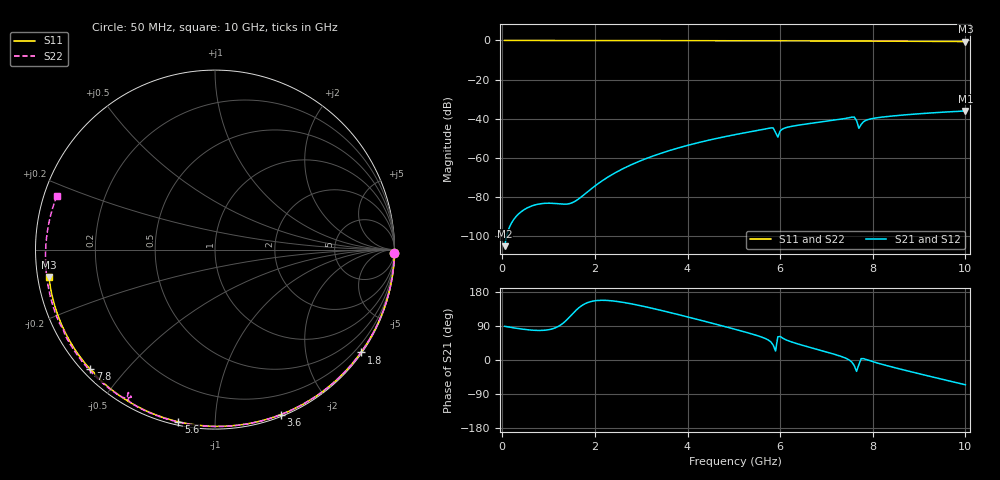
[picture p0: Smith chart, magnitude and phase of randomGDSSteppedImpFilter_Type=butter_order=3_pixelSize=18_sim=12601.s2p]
! freq	dB(S11)	phase(S11)	dB(S12)	phase(S12)
!  dB(S21)	phase(S21)	dB(S22)	phase(S22)
!S-par simulation data
#  GHz  S  DB  R 50
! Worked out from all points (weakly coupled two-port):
!   200 points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, 50 MHz to 10 GHz, reference 50 ohm
!   highest |S21| = -36.06 dB at 10 GHz (marker M1); lowest = -105.2 dB at 50 MHz (marker M2)
!   lowest |S11| = -0.6 dB at 10 GHz (marker M3), VSWR 31.00, Z = 1.62 - j4.09 ohm
!   |S11| at or under -10 dB: nowhere
!   |S22| runs from -0.6 to 0.0 dB; largest |S21 - S12| = 0
!   S11 on the Smith chart (normalised r, x): 50 MHz: open; 1.8 GHz: 0.03, -3.15; 3.6 GHz: 0.02, -1.47; 5.6 GHz: 0.02, -0.81; 7.8 GHz: 0.02, -0.40; 10 GHz: 0.03, -0.08
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0.05  -0.00 -1.0  -105.19 88.9  -105.19 88.9  -0.00 -1.1
0.85  -0.02 -16.8  -83.42 78.1  -83.42 78.1  -0.02 -18.9
1.7  -0.04 -33.3  -80.11 142.2  -80.11 142.2  -0.05 -37.5
1.75  -0.04 -34.2  -79.16 146.1  -79.16 146.1  -0.05 -38.5
1.8  -0.04 -35.2  -78.20 149.3  -78.20 149.3  -0.05 -39.6
2.5  -0.06 -48.4  -66.87 154.2  -66.87 154.2  -0.07 -54.4
3.4  -0.09 -64.7  -57.90 131.8  -57.90 131.8  -0.10 -72.7
3.6  -0.09 -68.3  -56.37 125.9  -56.37 125.9  -0.10 -76.7
5.05  -0.14 -93.0  -48.05 80.3  -48.05 80.3  -0.16 -104.6
5.6  -0.17 -102.0  -45.61 60.5  -45.61 60.5  -0.20 -115.1
5.85  -0.18 -106.0  -44.72 39.3  -44.72 39.3  -0.33 -120.7
5.95  -0.19 -107.6  -49.41 61.2  -49.41 61.2  -0.50 -119.6
6  -0.19 -108.4  -46.30 62.2  -46.30 62.2  -0.31 -120.8
6.1  -0.19 -110.0  -44.77 54.7  -44.77 54.7  -0.24 -123.1
6.7  -0.23 -119.4  -42.25 31.3  -42.25 31.3  -0.26 -134.5
7.6  -0.31 -133.5  -39.16 -14.9  -39.16 -14.9  -0.36 -151.3
7.65  -0.34 -134.2  -40.93 -30.0  -40.93 -30.0  -0.40 -152.1
7.7  -0.35 -134.8  -44.91 -12.2  -44.91 -12.2  -0.39 -152.8
7.8  -0.33 -136.3  -41.57 3.6  -41.57 3.6  -0.37 -154.6
8.35  -0.37 -144.7  -38.80 -16.3  -38.80 -16.3  -0.42 -165.1
9.2  -0.46 -157.9  -37.15 -42.2  -37.15 -42.2  -0.52 178.2
10  -0.56 -170.6  -36.06 -65.3  -36.06 -65.3  -0.62 161.4
